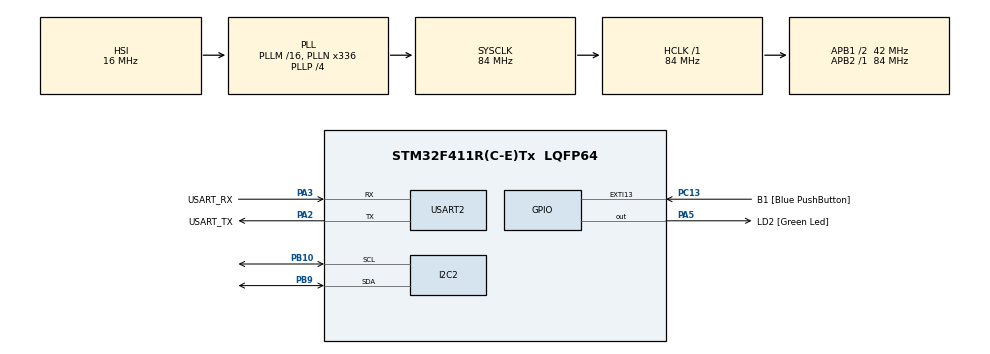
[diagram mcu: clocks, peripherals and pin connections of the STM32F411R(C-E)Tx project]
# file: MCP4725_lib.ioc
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Mcu.Family=STM32F4
Mcu.Name=STM32F411R(C-E)Tx
Mcu.Package=LQFP64
NVIC.PriorityGroup=NVIC_PRIORITYGROUP_0
NVIC.TIM1_UP_TIM10_IRQn=true\:0\:0\:false\:false\:true\:true\:true\:true
PA13.GPIO_Label=TMS
PA13.Mode=Trace_Asynchronous_SW
PA13.Signal=SYS_JTMS-SWDIO
PA14.GPIO_Label=TCK
PA14.Mode=Trace_Asynchronous_SW
PA14.Signal=SYS_JTCK-SWCLK
PA2.GPIO_Label=USART_TX
PA2.Mode=Asynchronous
PA2.Signal=USART2_TX
PA3.GPIO_Label=USART_RX
PA3.Mode=Asynchronous
PA3.Signal=USART2_RX
PA5.GPIO_Label=LD2 [Green Led]
PA5.Signal=GPIO_Output
PB10.Mode=I2C
PB10.Signal=I2C2_SCL
PB3.GPIO_Label=SWO
PB3.Mode=Trace_Asynchronous_SW
PB3.Signal=SYS_JTDO-SWO
PB9.Mode=I2C
PB9.Signal=I2C2_SDA
PC13-ANTI_TAMP.GPIO_Label=B1 [Blue PushButton]
PC13-ANTI_TAMP.GPIO_ModeDefaultEXTI=GPIO_MODE_IT_FALLING
PC13-ANTI_TAMP.Signal=GPXTI13
PC14-OSC32_IN.Mode=LSE-External-Oscillator
PC14-OSC32_IN.Signal=RCC_OSC32_IN
PC15-OSC32_OUT.Mode=LSE-External-Oscillator
PC15-OSC32_OUT.Signal=RCC_OSC32_OUT
PH0\ -\ OSC_IN.Mode=HSE-External-Clock-Source
PH0\ -\ OSC_IN.Signal=RCC_OSC_IN
PH1\ -\ OSC_OUT.Mode=HSE-External-Clock-Source
PH1\ -\ OSC_OUT.Signal=RCC_OSC_OUT
ProjectManager.HeapSize=0x200
ProjectManager.StackSize=0x400
ProjectManager.TargetToolchain=STM32CubeIDE
RCC.48MHZClocksFreq_Value=84000000
RCC.AHBFreq_Value=84000000
RCC.APB1CLKDivider=RCC_HCLK_DIV2
RCC.APB1Freq_Value=42000000
RCC.APB1TimFreq_Value=84000000
RCC.APB2Freq_Value=84000000
RCC.APB2TimFreq_Value=84000000
RCC.CortexFreq_Value=84000000
RCC.FLatency-AdvancedSettings=FLASH_LATENCY_2
RCC.HCLKFreq_Value=84000000
RCC.HSE_VALUE=8000000
RCC.HSI_VALUE=16000000
RCC.PLLN=336
RCC.PLLP=RCC_PLLP_DIV4
RCC.SYSCLKFreq_VALUE=84000000
RCC.SYSCLKSource=RCC_SYSCLKSOURCE_PLLCLK
RCC.VCOOutputFreq_Value=336000000
TIM10.Period=10000-1
TIM10.Prescaler=8400-1
USART2.VirtualMode=VM_ASYNC
VP_TIM10_VS_ClockSourceINT.Mode=Enable_Timer
board=NUCLEO-F411RE

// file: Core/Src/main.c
/* USER CODE BEGIN Header */
/**
  ******************************************************************************
  * @file           : main.c
  * @brief          : Main program body
  ******************************************************************************
  * @attention
  *
  * Copyright (c) 2024 STMicroelectronics.
  * All rights reserved.
  *
  * This software is licensed under terms that can be found in the LICENSE file
  * in the root directory of this software component.
  * If no LICENSE file comes with this software, it is provided AS-IS.
  *
  ******************************************************************************
  */
/* USER CODE END Header */
#include "main.h"

/* USER CODE BEGIN Includes */
#include "MCP4725.h"
/* USER CODE END Includes */

/* USER CODE BEGIN PD */
uint16_t sinval;
/* USER CODE END PD */

I2C_HandleTypeDef hi2c2;
TIM_HandleTypeDef htim10;
UART_HandleTypeDef huart2;

void SystemClock_Config(void);
static void MX_GPIO_Init(void);
static void MX_USART2_UART_Init(void);
static void MX_I2C2_Init(void);
static void MX_TIM10_Init(void);
/* USER CODE BEGIN PFP */
uint8_t setValue(uint16_t value);
/* USER CODE END PFP */

/* USER CODE BEGIN 0 */
// First, create an MCP4725 object:
MCP4725 myMCP4725;
uint32_t micro_seconds = 0;
/* USER CODE END 0 */

int main(void)
{

  /* MCU Configuration--------------------------------------------------------*/

  /* Reset of all peripherals, Initializes the Flash interface and the Systick. */
  HAL_Init();

  /* Configure the system clock */
  SystemClock_Config();

  /* Initialize all configured peripherals */
  MX_GPIO_Init();
  MX_USART2_UART_Init();
  MX_I2C2_Init();
  MX_TIM10_Init();
  /* USER CODE BEGIN 2 */
  // Second, initilaize the MCP4725 object:
  		myMCP4725 = MCP4725_init(&hi2c2, MCP4725A0_ADDR_A00, 3.30);

  		// Check the connection:
  		if(MCP4725_isConnected(&myMCP4725)){

  			/* Print that the DAC is coonected */
  			uint8_t aa = 5;
  		}
  		else{

  			/* Print that the DAC is NOT coonected */

  		}

  		// Starting the timer:
  		HAL_TIM_Base_Start_IT(&htim10);

  /* USER CODE END 2 */

  /* Infinite loop */
  while (1)
  {

  }
}

void SystemClock_Config(void)
{
  RCC_OscInitTypeDef RCC_OscInitStruct = {0};
  RCC_ClkInitTypeDef RCC_ClkInitStruct = {0};

  /** Configure the main internal regulator output voltage
  */
  __HAL_RCC_PWR_CLK_ENABLE();
  __HAL_PWR_VOLTAGESCALING_CONFIG(PWR_REGULATOR_VOLTAGE_SCALE1);

  /** Initializes the RCC Oscillators according to the specified parameters
  * in the RCC_OscInitTypeDef structure.
  */
  RCC_OscInitStruct.OscillatorType = RCC_OSCILLATORTYPE_HSI;
  RCC_OscInitStruct.HSIState = RCC_HSI_ON;
  RCC_OscInitStruct.HSICalibrationValue = RCC_HSICALIBRATION_DEFAULT;
  RCC_OscInitStruct.PLL.PLLState = RCC_PLL_ON;
  RCC_OscInitStruct.PLL.PLLSource = RCC_PLLSOURCE_HSI;
  RCC_OscInitStruct.PLL.PLLM = 16;
  RCC_OscInitStruct.PLL.PLLN = 336;
  RCC_OscInitStruct.PLL.PLLP = RCC_PLLP_DIV4;
  RCC_OscInitStruct.PLL.PLLQ = 4;
  if (HAL_RCC_OscConfig(&RCC_OscInitStruct) != HAL_OK)
  {
    Error_Handler();
  }

  /** Initializes the CPU, AHB and APB buses clocks
  */
  RCC_ClkInitStruct.ClockType = RCC_CLOCKTYPE_HCLK|RCC_CLOCKTYPE_SYSCLK
                              |RCC_CLOCKTYPE_PCLK1|RCC_CLOCKTYPE_PCLK2;
  RCC_ClkInitStruct.SYSCLKSource = RCC_SYSCLKSOURCE_PLLCLK;
  RCC_ClkInitStruct.AHBCLKDivider = RCC_SYSCLK_DIV1;
  RCC_ClkInitStruct.APB1CLKDivider = RCC_HCLK_DIV2;
  RCC_ClkInitStruct.APB2CLKDivider = RCC_HCLK_DIV1;

  if (HAL_RCC_ClockConfig(&RCC_ClkInitStruct, FLASH_LATENCY_2) != HAL_OK)
  {
    Error_Handler();
  }
}

static void MX_I2C2_Init(void)
{

  hi2c2.Instance = I2C2;
  hi2c2.Init.ClockSpeed = 100000;
  hi2c2.Init.DutyCycle = I2C_DUTYCYCLE_2;
  hi2c2.Init.OwnAddress1 = 0;
  hi2c2.Init.AddressingMode = I2C_ADDRESSINGMODE_7BIT;
  hi2c2.Init.DualAddressMode = I2C_DUALADDRESS_DISABLE;
  hi2c2.Init.OwnAddress2 = 0;
  hi2c2.Init.GeneralCallMode = I2C_GENERALCALL_DISABLE;
  hi2c2.Init.NoStretchMode = I2C_NOSTRETCH_DISABLE;
  if (HAL_I2C_Init(&hi2c2) != HAL_OK)
  {
    Error_Handler();
  }

}

static void MX_TIM10_Init(void)
{

  htim10.Instance = TIM10;
  htim10.Init.Prescaler = 84-1;
  htim10.Init.CounterMode = TIM_COUNTERMODE_UP;
  htim10.Init.Period = 10000-1;
  htim10.Init.ClockDivision = TIM_CLOCKDIVISION_DIV1;
  htim10.Init.AutoReloadPreload = TIM_AUTORELOAD_PRELOAD_DISABLE;
  if (HAL_TIM_Base_Init(&htim10) != HAL_OK)
  {
    Error_Handler();
  }

}

static void MX_USART2_UART_Init(void)
{

  huart2.Instance = USART2;
  huart2.Init.BaudRate = 115200;
  huart2.Init.WordLength = UART_WORDLENGTH_8B;
  huart2.Init.StopBits = UART_STOPBITS_1;
  huart2.Init.Parity = UART_PARITY_NONE;
  huart2.Init.Mode = UART_MODE_TX_RX;
  huart2.Init.HwFlowCtl = UART_HWCONTROL_NONE;
  huart2.Init.OverSampling = UART_OVERSAMPLING_16;
  if (HAL_UART_Init(&huart2) != HAL_OK)
  {
    Error_Handler();
  }

}

static void MX_GPIO_Init(void)
{
  GPIO_InitTypeDef GPIO_InitStruct = {0};

  /* GPIO Ports Clock Enable */
  __HAL_RCC_GPIOC_CLK_ENABLE();
  __HAL_RCC_GPIOH_CLK_ENABLE();
  __HAL_RCC_GPIOA_CLK_ENABLE();
  __HAL_RCC_GPIOB_CLK_ENABLE();

  /*Configure GPIO pin Output Level */
  HAL_GPIO_WritePin(LD2_GPIO_Port, LD2_Pin, GPIO_PIN_RESET);

  /*Configure GPIO pin : B1_Pin */
  GPIO_InitStruct.Pin = B1_Pin;
  GPIO_InitStruct.Mode = GPIO_MODE_IT_FALLING;
  GPIO_InitStruct.Pull = GPIO_NOPULL;
  HAL_GPIO_Init(B1_GPIO_Port, &GPIO_InitStruct);

  /*Configure GPIO pin : LD2_Pin */
  GPIO_InitStruct.Pin = LD2_Pin;
  GPIO_InitStruct.Mode = GPIO_MODE_OUTPUT_PP;
  GPIO_InitStruct.Pull = GPIO_NOPULL;
  GPIO_InitStruct.Speed = GPIO_SPEED_FREQ_LOW;
  HAL_GPIO_Init(LD2_GPIO_Port, &GPIO_InitStruct);

}

/* USER CODE BEGIN 4 */
void HAL_TIM_PeriodElapsedCallback(TIM_HandleTypeDef *htim)
{
	// Create a 1Hz sine wave:
	if(htim == &htim10){
	sinval = sinf( 2 * 3.141592 * 100 * (micro_seconds++) / 10000.0 ) * 2047 + 2048;
	setValue((uint16_t)( sinval ));
	}
}

uint8_t setValue(uint16_t value){
	return MCP4725_setValue(&myMCP4725, value, MCP4725_FAST_MODE, MCP4725_POWER_DOWN_OFF);
}
/* USER CODE END 4 */

void Error_Handler(void)
{
  __disable_irq();
  while (1)
  {
  }
}
